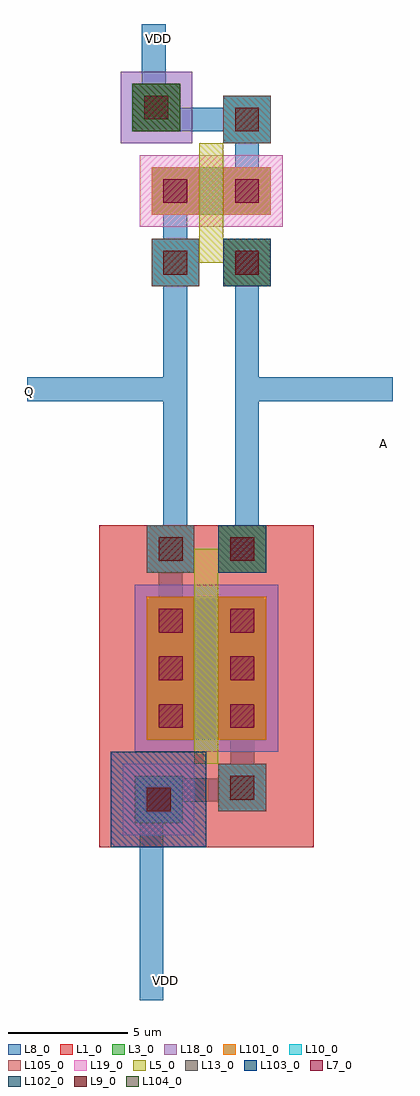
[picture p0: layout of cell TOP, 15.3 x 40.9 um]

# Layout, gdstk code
from math import pi, radians
import gdstk
lib = gdstk.Library(unit=1e-6, precision=1e-07)
def R(c, l, rs):  # rectangles x0, y0, x1, y1
    for r in rs: c.add(gdstk.rectangle(r[:2], r[2:], *l))
L1_0 = (1, 0)
L3_0 = (3, 0)
L5_0 = (5, 0)
L7_0 = (7, 0)
L8_0 = (8, 0)
L9_0 = (9, 0)
L10_0 = (10, 0)
L13_0 = (13, 0)
L18_0 = (18, 0)
L19_0 = (19, 0)
L101_0 = (101, 0)
L102_0 = (102, 0)
L103_0 = (103, 0)
L104_0 = (104, 0)
L105_0 = (105, 0)

dcont = lib.new_cell('dcont')
R(dcont, L3_0, [(-1,-1,1,1)])
R(dcont, L7_0, [(-0.5,-0.5,0.5,0.5)])
R(dcont, L8_0, [(-1,-1,1,1)])
R(dcont, L13_0, [(-0.5,-0.5,0.5,0.5)])
R(dcont, L101_0, [(-1,-1,1,1)])

pcont = lib.new_cell('pcont')
R(pcont, L5_0, [(-1,-1,1,1)])
R(pcont, L7_0, [(-0.5,-0.5,0.5,0.5)])
R(pcont, L8_0, [(-1,-1,1,1)])
R(pcont, L13_0, [(-0.5,-0.5,0.5,0.5)])
R(pcont, L102_0, [(-1,-1,1,1)])

via = lib.new_cell('Via')
R(via, L8_0, [(-1,-1,1,1)])
R(via, L9_0, [(-0.5,-0.5,0.5,0.5)])
R(via, L10_0, [(-1,-1,1,1)])
R(via, L13_0, [(-0.5,-0.5,0.5,0.5)])
R(via, L105_0, [(-1,-1,1,1)])

dcont1 = lib.new_cell('dcont1')
R(dcont1, L3_0, [(-1,-1,1,1)])
R(dcont1, L7_0, [(-0.5,-0.5,0.5,0.5)])
R(dcont1, L8_0, [(-1,-1,1,1)])
R(dcont1, L13_0, [(-0.5,-0.5,0.5,0.5)])
R(dcont1, L101_0, [(-1,-1,1,1)])

nsubcont = lib.new_cell('nsubcont')
R(nsubcont, L1_0, [(-2,-2,2,2)])
R(nsubcont, L19_0, [(-1.5,-1.5,1.5,1.5)])
R(nsubcont, L103_0, [(-2,-2,2,2)])
nsubcont.add(gdstk.Reference(dcont1, (0,0)))

pch_1 = lib.new_cell('Pch$1')
R(pch_1, L1_0, [(-2,0,7,13.5)])
R(pch_1, L3_0, [(0,3,5,9)])
R(pch_1, L18_0, [(-0.5,2.5,5.5,9.5)])
pch_1.add(gdstk.FlexPath([(2.5,3),(2.5,9)], 1, ends=(1, 1), simple_path=True, layer=5, datatype=0))  # L5_0
pch_1.add(gdstk.FlexPath([(1,1.5),(2.5,1.5),(2.5,2)], 1, ends="flush", simple_path=True, layer=5, datatype=0))  # L5_0
pch_1.add(gdstk.FlexPath([(1,3),(1,9)], 2, ends="flush", simple_path=True, layer=8, datatype=0))  # L8_0
pch_1.add(gdstk.FlexPath([(4,3),(4,9)], 2, ends="flush", simple_path=True, layer=8, datatype=0))  # L8_0
pch_1.add(gdstk.FlexPath([(1,8),(1,11)], 1, ends="flush", simple_path=True, layer=8, datatype=0))  # L8_0
pch_1.add(gdstk.FlexPath([(4,1),(4,4)], 1, ends="flush", simple_path=True, layer=8, datatype=0))  # L8_0
pch_1.add(gdstk.Reference(dcont, (1,4)))
pch_1.add(gdstk.Reference(dcont, (1,6)))
pch_1.add(gdstk.Reference(dcont, (1,8)))
pch_1.add(gdstk.Reference(dcont, (4,4)))
pch_1.add(gdstk.Reference(dcont, (4,6)))
pch_1.add(gdstk.Reference(dcont, (4,8)))
pch_1.add(gdstk.Reference(pcont, (1,1)))
pch_1.add(gdstk.Reference(via, (1,1)))
pch_1.add(gdstk.Reference(via, (1,11)))
pch_1.add(gdstk.Reference(via, (4,1)))
pch_1.add(gdstk.Reference(nsubcont, (4.5,11.5)))
pch_1.add(gdstk.Reference(via, (4.5,11.5)))

psubcont = lib.new_cell('psubcont')
R(psubcont, L18_0, [(-1.5,-1.5,1.5,1.5)])
R(psubcont, L104_0, [(-1,-1,1,1)])
psubcont.add(gdstk.Reference(dcont1, (0,0)))

nch_1 = lib.new_cell('Nch$1')
R(nch_1, L3_0, [(0,3,5,5)])
R(nch_1, L19_0, [(-0.5,2.5,5.5,5.5)])
nch_1.add(gdstk.FlexPath([(2.5,3),(2.5,5)], 1, ends=(1, 1), simple_path=True, layer=5, datatype=0))  # L5_0
nch_1.add(gdstk.FlexPath([(1,6.5),(2.5,6.5),(2.5,6)], 1, ends="flush", simple_path=True, layer=5, datatype=0))  # L5_0
nch_1.add(gdstk.FlexPath([(1,3),(1,5)], 2, ends="flush", simple_path=True, layer=8, datatype=0))  # L8_0
nch_1.add(gdstk.FlexPath([(4,3),(4,5)], 2, ends="flush", simple_path=True, layer=8, datatype=0))  # L8_0
nch_1.add(gdstk.FlexPath([(1,1),(1,4)], 1, ends="flush", simple_path=True, layer=8, datatype=0))  # L8_0
nch_1.add(gdstk.FlexPath([(4,4),(4,7)], 1, ends="flush", simple_path=True, layer=8, datatype=0))  # L8_0
nch_1.add(gdstk.Reference(dcont, (1,4)))
nch_1.add(gdstk.Reference(dcont, (4,4)))
nch_1.add(gdstk.Reference(pcont, (1,7)))
nch_1.add(gdstk.Reference(via, (1,7)))
nch_1.add(gdstk.Reference(via, (1,1)))
nch_1.add(gdstk.Reference(via, (4,7)))
nch_1.add(gdstk.Reference(psubcont, (4.8,0.5)))
nch_1.add(gdstk.Reference(via, (4.8,0.5)))

top = lib.new_cell('TOP')
top.add(gdstk.FlexPath([(-6.3,9.6),(-6.3,-1.7),(-6.3,-1.7)], 1, ends="flush", simple_path=True, layer=8, datatype=0))  # L8_0
top.add(gdstk.FlexPath([(-3.3,9.6),(-3.3,-1.8)], 1, ends="flush", simple_path=True, layer=8, datatype=0))  # L8_0
top.add(gdstk.FlexPath([(-6.7,4.7),(-12.5,4.7)], 1, ends="flush", simple_path=True, layer=8, datatype=0))  # L8_0
top.add(gdstk.FlexPath([(-3.8,-12.1),(-7.2,-12.1)], 1, ends="flush", simple_path=True, layer=8, datatype=0))  # L8_0
top.add(gdstk.FlexPath([(-7.1,-12.2),(-7.1,-12.2),(-7.1,-12.2)], 1, ends="flush", simple_path=True, layer=8, datatype=0))  # L8_0
top.add(gdstk.FlexPath([(-7.3,-12.3),(-7.3,-20.9)], 1, ends="flush", simple_path=True, layer=8, datatype=0))  # L8_0
top.add(gdstk.FlexPath([(-3.3,4.7),(2.8,4.7)], 1, ends="flush", simple_path=True, layer=8, datatype=0))  # L8_0
top.add(gdstk.FlexPath([(-3.4,16),(-6.8,16),(-6.8,16),(-6.8,16)], 1, ends="flush", simple_path=True, layer=8, datatype=0))  # L8_0
top.add(gdstk.FlexPath([(-7.2,17),(-7.2,20)], 1, ends="flush", simple_path=True, layer=8, datatype=0))  # L8_0
top.add(gdstk.Reference(pch_1, (-2.5,-1), rotation=pi))
top.add(gdstk.Reference(nch_1, (-2.3,17), rotation=pi))
top.add(gdstk.Label('VDD', (-7,19.4), layer=8, texttype=0))
top.add(gdstk.Label('Q', (-12.4,4.6), layer=8, texttype=0))
top.add(gdstk.Label('VDD', (-6.7,-20.1), layer=8, texttype=0))
top.add(gdstk.Label('A', (2.4,2.4), layer=8, texttype=0))

lib.write_gds('TOP.gds')
